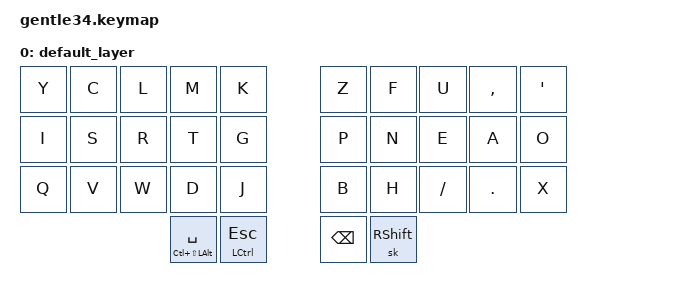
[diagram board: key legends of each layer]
/*
 * Copyright (c) 2020 The ZMK Contributors
 *
 * SPDX-License-Identifier: MIT
 */

#include <behaviors.dtsi>
#include <dt-bindings/zmk/keys.h>


/ {
        keymap {
                compatible = "zmk,keymap";

                default_layer { // layer 0
                bindings = <
        &kp Y      &kp C      &kp L      &kp M      &kp K                   &kp Z           &kp F      &kp U      &kp COMMA  &kp APOS      
        &kp I      &kp S      &kp R      &kp T      &kp G                   &kp P           &kp N      &kp E      &kp A      &kp O        
        &kp Q      &kp V      &kp W      &kp D      &kp J                   &kp B           &kp H      &kp FSLH   &kp DOT    &kp X        
                            &mt LC(LS(LALT)) SPACE  &mt LCTRL ESC           &kp BSPC        &sk RSHFT       
                        >;
                };
        };
};
